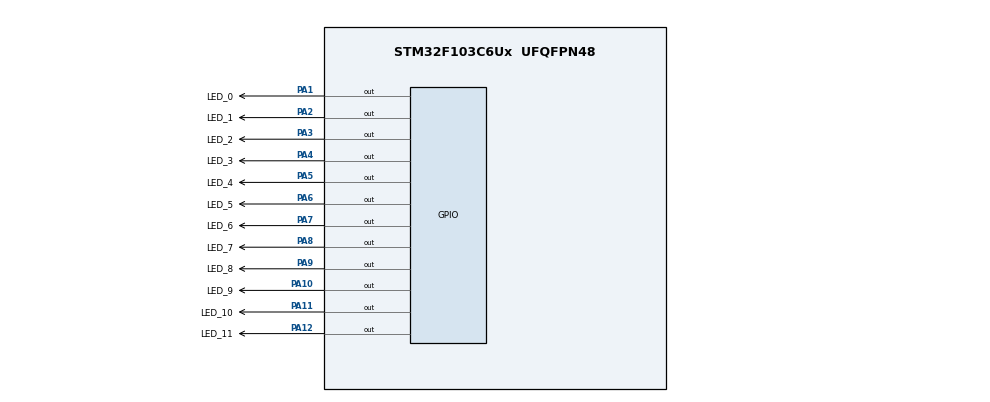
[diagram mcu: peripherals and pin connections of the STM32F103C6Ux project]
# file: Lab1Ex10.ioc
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Mcu.Family=STM32F1
Mcu.Name=STM32F103C6Ux
Mcu.Package=UFQFPN48
NVIC.PriorityGroup=NVIC_PRIORITYGROUP_4
PA1.GPIO_Label=LED_0
PA1.Signal=GPIO_Output
PA10.GPIO_Label=LED_9
PA10.Signal=GPIO_Output
PA11.GPIO_Label=LED_10
PA11.Signal=GPIO_Output
PA12.GPIO_Label=LED_11
PA12.Signal=GPIO_Output
PA2.GPIO_Label=LED_1
PA2.Signal=GPIO_Output
PA3.GPIO_Label=LED_2
PA3.Signal=GPIO_Output
PA4.GPIO_Label=LED_3
PA4.Signal=GPIO_Output
PA5.GPIO_Label=LED_4
PA5.Signal=GPIO_Output
PA6.GPIO_Label=LED_5
PA6.Signal=GPIO_Output
PA7.GPIO_Label=LED_6
PA7.Signal=GPIO_Output
PA8.GPIO_Label=LED_7
PA8.Signal=GPIO_Output
PA9.GPIO_Label=LED_8
PA9.Signal=GPIO_Output
ProjectManager.HeapSize=0x200
ProjectManager.StackSize=0x400
ProjectManager.TargetToolchain=STM32CubeIDE
RCC.APB1Freq_Value=8000000
RCC.APB2Freq_Value=8000000
VP_SYS_VS_ND.Mode=No_Debug
board=custom

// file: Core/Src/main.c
/* USER CODE BEGIN Header */
/**
  ******************************************************************************
  * @file           : main.c
  * @brief          : Main program body
  ******************************************************************************
  * @attention
  *
  * <h2><center>&copy; Copyright (c) 2025 STMicroelectronics.
  * All rights reserved.</center></h2>
  *
  * This software component is licensed by ST under BSD 3-Clause license,
  * the "License"; You may not use this file except in compliance with the
  * License. You may obtain a copy of the License at:
  *                        opensource.org/licenses/BSD-3-Clause
  *
  ******************************************************************************
  */
/* USER CODE END Header */
#include "main.h"

/* USER CODE BEGIN PD */

#define HOUR 12
#define MINUTE 60
#define SECOND 60

/* USER CODE END PD */

void SystemClock_Config(void);
static void MX_GPIO_Init(void);

/* USER CODE BEGIN 0 */
// EXERCISE 6

void testClock() {
	/* LED 0 */
	HAL_GPIO_WritePin(LED_0_GPIO_Port,  LED_0_Pin, GPIO_PIN_RESET);
	HAL_Delay(1000);

	/* LED 1 */
	HAL_GPIO_WritePin(LED_1_GPIO_Port,  LED_1_Pin, GPIO_PIN_RESET);
	HAL_Delay(1000);

	/* LED 2 */
	HAL_GPIO_WritePin(LED_2_GPIO_Port,  LED_2_Pin, GPIO_PIN_RESET);
	HAL_Delay(1000);

	/* LED 3 */
	HAL_GPIO_WritePin(LED_3_GPIO_Port,  LED_3_Pin, GPIO_PIN_RESET);
	HAL_Delay(1000);

	/* LED 4 */
	HAL_GPIO_WritePin(LED_4_GPIO_Port,  LED_4_Pin, GPIO_PIN_RESET);
	HAL_Delay(1000);

	/* LED 5 */
	HAL_GPIO_WritePin(LED_5_GPIO_Port,  LED_5_Pin, GPIO_PIN_RESET);
	HAL_Delay(1000);

	/* LED 6 */
	HAL_GPIO_WritePin(LED_6_GPIO_Port,  LED_6_Pin, GPIO_PIN_RESET);
	HAL_Delay(1000);

	/* LED 7 */
	HAL_GPIO_WritePin(LED_7_GPIO_Port,  LED_7_Pin, GPIO_PIN_RESET);
	HAL_Delay(1000);

	/* LED 8 */
	HAL_GPIO_WritePin(LED_8_GPIO_Port,  LED_8_Pin, GPIO_PIN_RESET);
	HAL_Delay(1000);

	/* LED 9 */
	HAL_GPIO_WritePin(LED_9_GPIO_Port,  LED_9_Pin, GPIO_PIN_RESET);
	HAL_Delay(1000);

	/* LED 10 */
	HAL_GPIO_WritePin(LED_10_GPIO_Port,  LED_10_Pin, GPIO_PIN_RESET);
	HAL_Delay(1000);

	/* LED 11 */
	HAL_GPIO_WritePin(LED_11_GPIO_Port,  LED_11_Pin, GPIO_PIN_RESET);
	HAL_Delay(1000);

}

// EXERCISE 7
void clearAllClock() {
	HAL_GPIO_WritePin(LED_0_GPIO_Port,  LED_0_Pin,  GPIO_PIN_SET);
	HAL_GPIO_WritePin(LED_1_GPIO_Port,  LED_1_Pin,  GPIO_PIN_SET);
	HAL_GPIO_WritePin(LED_2_GPIO_Port,  LED_2_Pin,  GPIO_PIN_SET);
	HAL_GPIO_WritePin(LED_3_GPIO_Port,  LED_3_Pin,  GPIO_PIN_SET);
	HAL_GPIO_WritePin(LED_4_GPIO_Port,  LED_4_Pin,  GPIO_PIN_SET);
	HAL_GPIO_WritePin(LED_5_GPIO_Port,  LED_5_Pin,  GPIO_PIN_SET);
	HAL_GPIO_WritePin(LED_6_GPIO_Port,  LED_6_Pin,  GPIO_PIN_SET);
	HAL_GPIO_WritePin(LED_7_GPIO_Port,  LED_7_Pin,  GPIO_PIN_SET);
	HAL_GPIO_WritePin(LED_8_GPIO_Port,  LED_8_Pin,  GPIO_PIN_SET);
	HAL_GPIO_WritePin(LED_9_GPIO_Port,  LED_9_Pin,  GPIO_PIN_SET);
	HAL_GPIO_WritePin(LED_10_GPIO_Port, LED_10_Pin, GPIO_PIN_SET);
	HAL_GPIO_WritePin(LED_11_GPIO_Port, LED_11_Pin, GPIO_PIN_SET);
}
// EXERCISE 8
void setNumberOnClock(int num) {
	switch(num)
		{
		case 0:
			HAL_GPIO_WritePin(LED_0_GPIO_Port,  LED_0_Pin, GPIO_PIN_RESET);
			break;
		case 1:
			HAL_GPIO_WritePin(LED_1_GPIO_Port,  LED_1_Pin, GPIO_PIN_RESET);
			break;
		case 2:
			HAL_GPIO_WritePin(LED_2_GPIO_Port,  LED_2_Pin, GPIO_PIN_RESET);
			break;
		case 3:
			HAL_GPIO_WritePin(LED_3_GPIO_Port,  LED_3_Pin, GPIO_PIN_RESET);
			break;
		case 4:
			HAL_GPIO_WritePin(LED_4_GPIO_Port,  LED_4_Pin, GPIO_PIN_RESET);
			break;
		case 5:
			HAL_GPIO_WritePin(LED_5_GPIO_Port,  LED_5_Pin, GPIO_PIN_RESET);
			break;
		case 6:
			HAL_GPIO_WritePin(LED_6_GPIO_Port,  LED_6_Pin, GPIO_PIN_RESET);
			break;
		case 7:
			HAL_GPIO_WritePin(LED_7_GPIO_Port,  LED_7_Pin, GPIO_PIN_RESET);
			break;
		case 8:
			HAL_GPIO_WritePin(LED_8_GPIO_Port,  LED_8_Pin, GPIO_PIN_RESET);
			break;
		case 9:
			HAL_GPIO_WritePin(LED_9_GPIO_Port, LED_9_Pin, GPIO_PIN_RESET);
			break;
		case 10:
			HAL_GPIO_WritePin(LED_10_GPIO_Port, LED_10_Pin, GPIO_PIN_RESET);
			break;
		case 11:
			HAL_GPIO_WritePin(LED_11_GPIO_Port, LED_11_Pin, GPIO_PIN_RESET);
			break;
		}
}

// EXERCISE 9
void clearNumberOnClock(int num) {
	switch(num)
	{
	case 0:
		HAL_GPIO_WritePin(LED_0_GPIO_Port,  LED_0_Pin, GPIO_PIN_SET);
		break;
	case 1:
		HAL_GPIO_WritePin(LED_1_GPIO_Port,  LED_1_Pin, GPIO_PIN_SET);
		break;
	case 2:
		HAL_GPIO_WritePin(LED_2_GPIO_Port,  LED_2_Pin, GPIO_PIN_SET);
		break;
	case 3:
		HAL_GPIO_WritePin(LED_3_GPIO_Port,  LED_3_Pin, GPIO_PIN_SET);
		break;
	case 4:
		HAL_GPIO_WritePin(LED_4_GPIO_Port,  LED_4_Pin, GPIO_PIN_SET);
		break;
	case 5:
		HAL_GPIO_WritePin(LED_5_GPIO_Port,  LED_5_Pin, GPIO_PIN_SET);
		break;
	case 6:
		HAL_GPIO_WritePin(LED_6_GPIO_Port,  LED_6_Pin, GPIO_PIN_SET);
		break;
	case 7:
		HAL_GPIO_WritePin(LED_7_GPIO_Port,  LED_7_Pin, GPIO_PIN_SET);
		break;
	case 8:
		HAL_GPIO_WritePin(LED_8_GPIO_Port,  LED_8_Pin, GPIO_PIN_SET);
		break;
	case 9:
		HAL_GPIO_WritePin(LED_9_GPIO_Port, LED_9_Pin, GPIO_PIN_SET);
		break;
	case 10:
		HAL_GPIO_WritePin(LED_10_GPIO_Port, LED_10_Pin, GPIO_PIN_SET);
		break;
	case 11:
		HAL_GPIO_WritePin(LED_11_GPIO_Port, LED_11_Pin, GPIO_PIN_SET);
		break;
	}
}

/* USER CODE END 0 */

int main(void)
{

  /* MCU Configuration--------------------------------------------------------*/

  /* Reset of all peripherals, Initializes the Flash interface and the Systick. */
  HAL_Init();

  /* Configure the system clock */
  SystemClock_Config();

  /* Initialize all configured peripherals */
  MX_GPIO_Init();

  /* Infinite loop */
  /* USER CODE BEGIN WHILE */
  while (1)
  {
	  clearAllClock();

	  	  for (int hour = 0; hour < HOUR; ++hour) {
	  		  int hourPin = hour;
	  		  for (int minute = 0; minute < MINUTE; ++minute) {
	  			int minutePin = minute / 5;
	  			for (int second = 0; second < SECOND; ++second) {
	  				int secondPin = second / 5;

	  				setNumberOnClock(hourPin);
	  				setNumberOnClock(minutePin);
	  				setNumberOnClock(secondPin);

	  				HAL_Delay(10);

	  				clearAllClock();
	  			}

	  		  }
	  	  }
	  /* USER CODE END WHILE */

  }
}

void SystemClock_Config(void)
{
  RCC_OscInitTypeDef RCC_OscInitStruct = {0};
  RCC_ClkInitTypeDef RCC_ClkInitStruct = {0};

  /** Initializes the RCC Oscillators according to the specified parameters
  * in the RCC_OscInitTypeDef structure.
  */
  RCC_OscInitStruct.OscillatorType = RCC_OSCILLATORTYPE_HSI;
  RCC_OscInitStruct.HSIState = RCC_HSI_ON;
  RCC_OscInitStruct.HSICalibrationValue = RCC_HSICALIBRATION_DEFAULT;
  RCC_OscInitStruct.PLL.PLLState = RCC_PLL_NONE;
  if (HAL_RCC_OscConfig(&RCC_OscInitStruct) != HAL_OK)
  {
    Error_Handler();
  }
  /** Initializes the CPU, AHB and APB buses clocks
  */
  RCC_ClkInitStruct.ClockType = RCC_CLOCKTYPE_HCLK|RCC_CLOCKTYPE_SYSCLK
                              |RCC_CLOCKTYPE_PCLK1|RCC_CLOCKTYPE_PCLK2;
  RCC_ClkInitStruct.SYSCLKSource = RCC_SYSCLKSOURCE_HSI;
  RCC_ClkInitStruct.AHBCLKDivider = RCC_SYSCLK_DIV1;
  RCC_ClkInitStruct.APB1CLKDivider = RCC_HCLK_DIV1;
  RCC_ClkInitStruct.APB2CLKDivider = RCC_HCLK_DIV1;

  if (HAL_RCC_ClockConfig(&RCC_ClkInitStruct, FLASH_LATENCY_0) != HAL_OK)
  {
    Error_Handler();
  }
}

static void MX_GPIO_Init(void)
{
  GPIO_InitTypeDef GPIO_InitStruct = {0};

  /* GPIO Ports Clock Enable */
  __HAL_RCC_GPIOA_CLK_ENABLE();

  /*Configure GPIO pin Output Level */
  HAL_GPIO_WritePin(GPIOA, LED_0_Pin|LED_1_Pin|LED_2_Pin|LED_3_Pin
                          |LED_4_Pin|LED_5_Pin|LED_6_Pin|LED_7_Pin
                          |LED_8_Pin|LED_9_Pin|LED_10_Pin|LED_11_Pin, GPIO_PIN_RESET);

  /*Configure GPIO pins : LED_0_Pin LED_1_Pin LED_2_Pin LED_3_Pin
                           LED_4_Pin LED_5_Pin LED_6_Pin LED_7_Pin
                           LED_8_Pin LED_9_Pin LED_10_Pin LED_11_Pin */
  GPIO_InitStruct.Pin = LED_0_Pin|LED_1_Pin|LED_2_Pin|LED_3_Pin
                          |LED_4_Pin|LED_5_Pin|LED_6_Pin|LED_7_Pin
                          |LED_8_Pin|LED_9_Pin|LED_10_Pin|LED_11_Pin;
  GPIO_InitStruct.Mode = GPIO_MODE_OUTPUT_PP;
  GPIO_InitStruct.Pull = GPIO_NOPULL;
  GPIO_InitStruct.Speed = GPIO_SPEED_FREQ_LOW;
  HAL_GPIO_Init(GPIOA, &GPIO_InitStruct);

}

void Error_Handler(void)
{
  __disable_irq();
  while (1)
  {
  }
}

/************************ (C) COPYRIGHT STMicroelectronics *****END OF FILE****/
